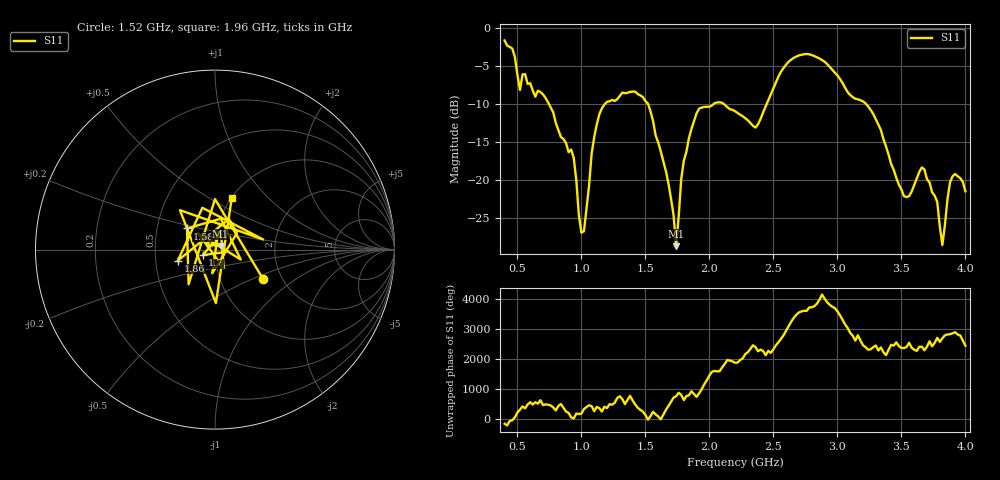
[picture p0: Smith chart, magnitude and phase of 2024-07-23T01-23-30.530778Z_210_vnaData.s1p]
!Created with skrf (http://scikit-rf.org).
# Hz S RI R 50.0
!freq ReS11 ImS11
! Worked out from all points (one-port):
!   181 points, 400 MHz to 4 GHz, reference 50 ohm
!   lowest |S11| = -28.8 dB at 1.74 GHz (marker M1), VSWR 1.08, Z = 53.1 + j2.09 ohm
!   |S11| at or under -10 dB: 745 MHz to 1.185 GHz (440.5 MHz wide, 45.6 % of centre); 1.52 GHz to 2.036 GHz (516.2 MHz wide, 29 % of centre); 3.222 GHz to end of sweep (the widest 3 of 4)
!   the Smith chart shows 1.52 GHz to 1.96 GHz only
!   S11 on the Smith chart (normalised r, x): 1.52 GHz: 1.60, -0.59; 1.58 GHz: 0.71, +0.17; 1.7 GHz: 0.87, -0.05; 1.86 GHz: 0.65, -0.08; 1.96 GHz: 1.01, +0.63
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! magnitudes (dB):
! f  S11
! 400 MHz  -1.7
! 520 MHz  -8.2
! 560 MHz  -6.1
! 860 MHz  -14.7
! 940 MHz  -17.1
! 980 MHz  -24.6
! 1.02 GHz  -26.8
! 1.14 GHz  -11.4
! 1.3 GHz  -9.0
! 1.52 GHz  -10.0
! 1.58 GHz  -14.2
! 1.7 GHz  -22.5
! 1.74 GHz  -28.8
! 1.76 GHz  -24.9
! 1.8 GHz  -17.5
! 1.86 GHz  -13.3
! 1.96 GHz  -10.4
! 2.2 GHz  -11.0
! 2.36 GHz  -13.1
! 2.66 GHz  -3.9
! 3.1 GHz  -8.8
! 3.28 GHz  -11.4
! 3.56 GHz  -22.2
! 3.68 GHz  -18.7
! 3.78 GHz  -22.9
! 3.82 GHz  -28.6
! 3.9 GHz  -19.6
! 4 GHz  -21.5
